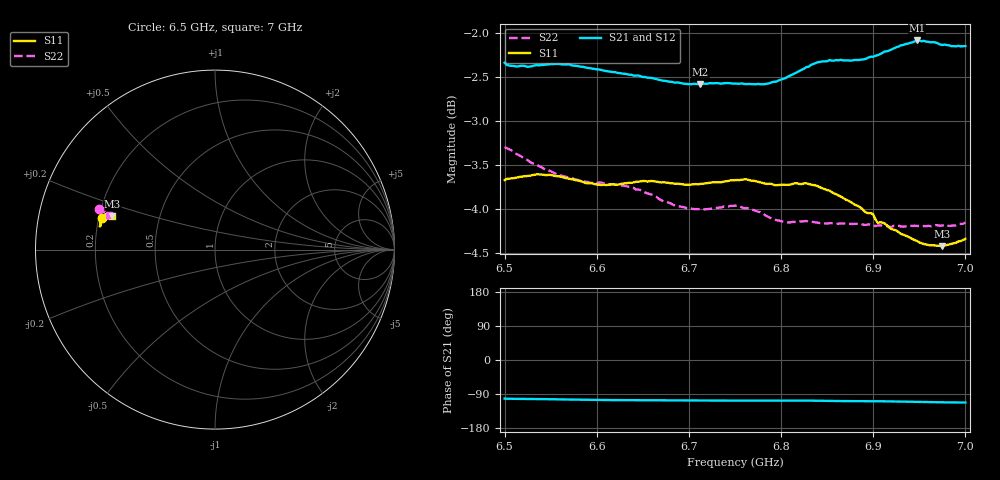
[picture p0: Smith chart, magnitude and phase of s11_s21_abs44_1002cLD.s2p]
! MS46122B
! 1919307/90821646
! 7/29/2022 2:37:04 PM
! C:\USERS\PC_\DESKTOP\MEDICIONES\BANCHA ESTRECHA\65_7GHZ\S11_S21_ABS44_1002CL.S2P
! CHANNEL.1
! TR.MEASUREMENT
! CORRECTED.DATA
# GHZ S RI R 50.0
! FREQ.GHZ  S11RE  S11IM  S21RE  S21IM  S12RE  S12IM  S22RE  S22IM
!; PortSelection: Port_12
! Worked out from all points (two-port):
!   201 points, 6.5 GHz to 7 GHz, reference 50 ohm
!   highest |S21| = -2.09 dB at 6.947 GHz (marker M1); lowest = -2.6 dB at 6.713 GHz (marker M2)
!   |S21| within 3 dB of the highest: start of sweep to end of sweep
!   lowest |S11| = -4.4 dB at 6.975 GHz (marker M3), VSWR 4.01, Z = 12.8 + j7.38 ohm
!   |S11| at or under -10 dB: nowhere
!   |S22| runs from -4.2 to -3.3 dB; largest |S21 - S12| = 0.012
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6.5  -0.6308 0.177  -0.155 -0.748  -0.1522 -0.7447  -0.6455 0.2262
6.5025  -0.6333 0.172  -0.1609 -0.7445  -0.1534 -0.7442  -0.6449 0.2251
6.51  -0.6352 0.1675  -0.1634 -0.7429  -0.1543 -0.7433  -0.6428 0.221
6.5425  -0.6407 0.1572  -0.1759 -0.7411  -0.1648 -0.7441  -0.6314 0.2092
6.585  -0.6372 0.1459  -0.1958 -0.7342  -0.1884 -0.7401  -0.6186 0.2134
6.62  -0.6372 0.1346  -0.2062 -0.7259  -0.2013 -0.7294  -0.6146 0.2153
6.6675  -0.6404 0.1304  -0.2145 -0.7157  -0.2113 -0.7198  -0.6107 0.1888
6.695  -0.6358 0.1414  -0.2138 -0.7118  -0.2135 -0.7162  -0.6056 0.1819
6.7125  -0.6339 0.1523  -0.2153 -0.7108  -0.2143 -0.7151  -0.6024 0.187
6.75  -0.6331 0.1684  -0.2198 -0.7102  -0.2192 -0.7125  -0.6 0.2037
6.7775  -0.6321 0.1649  -0.2185 -0.7098  -0.219 -0.7098  -0.5971 0.1955
6.8  -0.6314 0.1593  -0.217 -0.7151  -0.2164 -0.7143  -0.5954 0.1761
6.815  -0.6314 0.1646  -0.2191 -0.7209  -0.2184 -0.7199  -0.5964 0.1704
6.835  -0.6256 0.1799  -0.2264 -0.7283  -0.2269 -0.727  -0.5943 0.1776
6.855  -0.6148 0.195  -0.238 -0.7281  -0.2384 -0.7268  -0.5892 0.1906
6.8725  -0.6062 0.1988  -0.2436 -0.7265  -0.2438 -0.7234  -0.5858 0.1998
6.895  -0.5974 0.1921  -0.2479 -0.7282  -0.2471 -0.7225  -0.5839 0.2038
6.9175  -0.5887 0.18  -0.2554 -0.7331  -0.2526 -0.7274  -0.5845 0.1958
6.93  -0.5848 0.1759  -0.2627 -0.7361  -0.2573 -0.7299  -0.5866 0.1899
6.9475  -0.5786 0.1771  -0.2751 -0.7368  -0.2678 -0.7304  -0.5884 0.1859
6.975  -0.5718 0.1848  -0.2883 -0.7268  -0.282 -0.7238  -0.5885 0.1868
7  -0.5763 0.1897  -0.2954 -0.7228  -0.2893 -0.7179  -0.5899 0.1902
